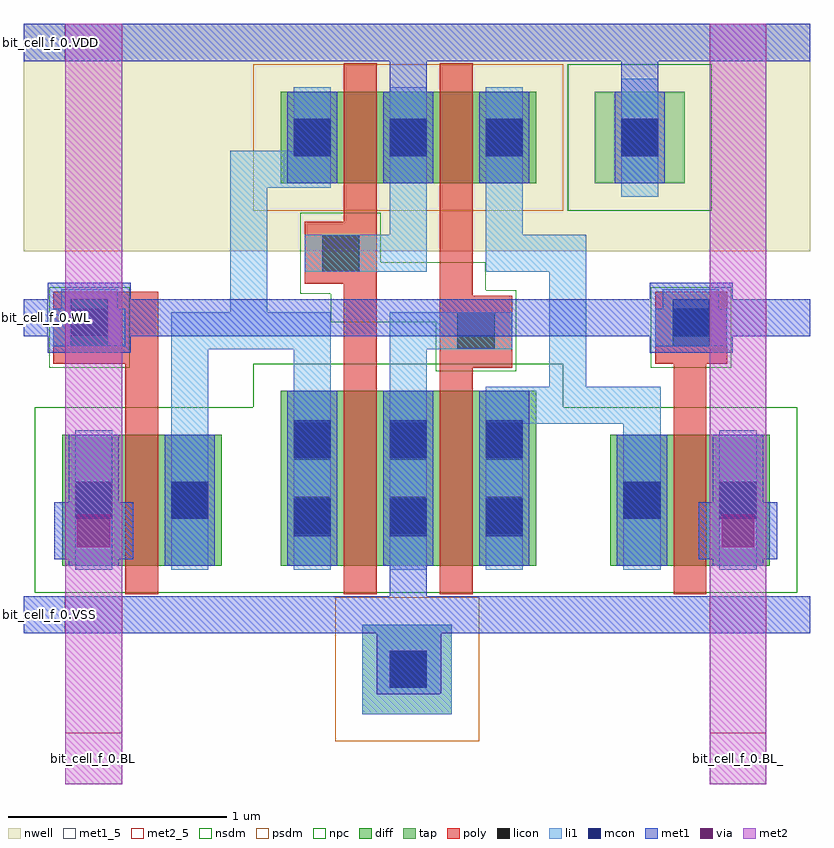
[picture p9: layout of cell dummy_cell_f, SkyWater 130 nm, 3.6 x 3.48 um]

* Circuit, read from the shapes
.subckt dummy_cell_f bit_cell_f_0.BL bit_cell_f_0.BL_ bit_cell_f_0.VDD bit_cell_f_0.VSS bit_cell_f_0.WL
XM1 n1 bit_cell_f_0.WL bit_cell_f_0.BL bit_cell_f_0.VSS sky130_fd_pr__nfet_01v8 w=0.6 l=0.15
XM2 bit_cell_f_0.VSS bit_cell_f_0.VDD n1 bit_cell_f_0.VSS sky130_fd_pr__nfet_01v8 w=0.8 l=0.15
XM3 n2 bit_cell_f_0.VSS bit_cell_f_0.VSS bit_cell_f_0.VSS sky130_fd_pr__nfet_01v8 w=0.8 l=0.15
XM4 bit_cell_f_0.BL_ bit_cell_f_0.WL n2 bit_cell_f_0.VSS sky130_fd_pr__nfet_01v8 w=0.6 l=0.15
XM5 bit_cell_f_0.VDD bit_cell_f_0.VDD n1 bit_cell_f_0.VDD sky130_fd_pr__pfet_01v8 w=0.42 l=0.15
XM6 n2 bit_cell_f_0.VSS bit_cell_f_0.VDD bit_cell_f_0.VDD sky130_fd_pr__pfet_01v8 w=0.42 l=0.15
.ends

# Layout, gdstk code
import gdstk
lib = gdstk.Library(unit=1e-6, precision=5e-09)
def R(c, l, rs):  # rectangles x0, y0, x1, y1
    for r in rs: c.add(gdstk.rectangle(r[:2], r[2:], *l))
def A(c, l, x, y, w, h, nx, ny, dx, dy):  # array of equal rectangles
    R(c, l, [(x+i*dx, y+j*dy, x+i*dx+w, y+j*dy+h) for i in range(nx) for j in range(ny)])
nwell = (64, 20)
diff = (65, 20)
tap = (65, 44)
poly = (66, 20)
licon = (66, 44)
li1 = (67, 20)
mcon = (67, 44)
met1_5 = (68, 5)
met1 = (68, 20)
via = (68, 44)
met2_5 = (69, 5)
met2 = (69, 20)
nsdm = (93, 44)
psdm = (94, 20)
npc = (95, 20)

dummy_cell_f = lib.new_cell('dummy_cell_f')
R(dummy_cell_f, nwell, [(0,2.44,3.6,3.48)])
R(dummy_cell_f, diff, [(0.175,1,0.905,1.6), (1.175,1,2.345,1.8), (2.685,1,3.415,1.6), (1.175,2.75,2.345,3.17)])
R(dummy_cell_f, tap, [(1.55,0.32,1.96,0.73), (2.615,2.75,3.025,3.17)])
R(dummy_cell_f, poly, [(0.465,0.87,0.615,1.925), (1.465,0.87,1.615,2.29), (1.905,0.87,2.055,1.905), (2.975,0.87,3.125,1.925), (1.905,1.905,2.235,2.235), (0.135,1.925,0.615,2.255), (2.89,1.925,3.22,2.255), (1.905,2.235,2.055,3.3), (1.285,2.29,1.615,2.575), (1.465,2.575,1.615,3.3)])
A(dummy_cell_f, licon, 1.235, 1.145, 0.17, 0.17, 3, 2, 0.44, 0.34)
A(dummy_cell_f, licon, 1.235, 2.875, 0.17, 0.17, 3, 1, 0.44, 0)
R(dummy_cell_f, licon, [(1.675,0.44,1.845,0.61), (0.235,1.215,0.405,1.385), (0.675,1.215,0.845,1.385), (2.745,1.215,2.915,1.385), (3.185,1.215,3.355,1.385), (1.985,1.99,2.155,2.16), (0.215,2.005,0.385,2.175), (2.97,2.005,3.14,2.175), (1.365,2.345,1.535,2.515), (2.735,2.875,2.905,3.045)])
R(dummy_cell_f, li1, [(1.55,0.32,1.96,0.73), (0.235,0.98,0.405,1.62), (0.675,0.98,0.845,1.99), (1.235,0.98,1.405,1.99), (1.675,0.98,1.845,1.99), (2.115,0.98,2.285,1.65), (2.745,0.98,2.915,1.65), (3.185,0.98,3.355,1.62), (2.115,1.65,2.915,1.82), (2.405,1.82,2.575,2.345), (0.675,1.99,1.405,2.16), (1.675,1.99,2.235,2.16), (0.135,2.005,0.465,2.175), (2.89,2.005,3.22,2.175), (0.945,2.16,1.115,2.73), (0.17,2.175,0.43,2.265), (2.925,2.175,3.185,2.265), (1.285,2.345,1.845,2.515), (2.115,2.345,2.575,2.515), (1.675,2.515,1.845,3.19), (2.115,2.515,2.285,3.19), (2.735,2.69,2.905,3.23), (0.945,2.73,1.405,2.9), (1.235,2.9,1.405,3.19)])
A(dummy_cell_f, mcon, 1.235, 1.135, 0.17, 0.17, 3, 2, 0.44, 0.36)
A(dummy_cell_f, mcon, 1.235, 2.875, 0.17, 0.17, 3, 1, 0.44, 0)
R(dummy_cell_f, mcon, [(1.675,0.44,1.845,0.61), (0.235,1.215,0.405,1.385), (0.675,1.215,0.845,1.385), (2.745,1.215,2.915,1.385), (3.185,1.215,3.355,1.385), (0.215,2.05,0.385,2.22), (2.97,2.05,3.14,2.22), (2.735,2.875,2.905,3.045)])
R(dummy_cell_f, met1_5, [(0,0.69,0.19,0.86), (0,2.05,0.11,2.22), (0,3.31,0.19,3.48)])
A(dummy_cell_f, met1, 1.205, 1, 0.23, 0.8, 3, 1, 0.44, 0)
A(dummy_cell_f, met1, 1.205, 2.75, 0.23, 0.42, 3, 1, 0.44, 0)
R(dummy_cell_f, met1, [(1.615,0.41,1.905,0.415), (1.615,0.415,1.91,0.69), (0,0.69,3.6,0.86), (1.675,0.86,1.845,1), (0.205,1,0.435,1.03), (0.645,1,0.875,1.6), (2.715,1,2.945,1.6), (3.155,1,3.385,1.03), (0.14,1.03,0.5,1.29), (3.09,1.03,3.45,1.29), (0.205,1.29,0.435,1.6), (3.155,1.29,3.385,1.6), (0.11,1.975,0.49,2.05), (2.865,1.975,3.245,2.05), (0,2.05,3.6,2.22), (0.11,2.22,0.49,2.295), (2.865,2.22,3.245,2.295), (2.705,2.75,2.935,3.17), (1.675,3.17,1.845,3.31), (2.735,3.17,2.905,3.31), (0,3.31,3.6,3.48)])
R(dummy_cell_f, via, [(0.245,1.085,0.395,1.235), (3.195,1.085,3.345,1.235)])
R(dummy_cell_f, met2_5, [(0.19,0,0.45,0.235), (3.14,0,3.4,0.235)])
R(dummy_cell_f, met2, [(0.19,0,0.45,3.48), (3.14,0,3.4,3.48)])
R(dummy_cell_f, nsdm, [(0.05,0.875,3.54,1.725), (1.05,1.725,2.47,1.925), (2.49,2.625,3.15,3.295)])
R(dummy_cell_f, psdm, [(1.425,0.195,2.085,0.855), (1.05,2.625,2.47,3.295)])
R(dummy_cell_f, npc, [(1.885,1.89,2.255,2.115), (0.115,1.905,0.485,2.275), (2.87,1.905,3.24,2.275), (1.405,2.115,2.255,2.245), (1.265,2.245,2.255,2.26), (1.265,2.26,2.115,2.39), (1.265,2.39,1.635,2.615)])
dummy_cell_f.add(gdstk.Label('bit_cell_f_0.BL_', (3.27,0.115), layer=69, texttype=5))
dummy_cell_f.add(gdstk.Label('bit_cell_f_0.VSS', (0.095,0.775), layer=68, texttype=5))
dummy_cell_f.add(gdstk.Label('bit_cell_f_0.WL', (0.055,2.135), layer=68, texttype=5))
dummy_cell_f.add(gdstk.Label('bit_cell_f_0.VDD', (0.095,3.395), layer=68, texttype=5))
dummy_cell_f.add(gdstk.Label('bit_cell_f_0.BL', (0.32,0.115), layer=69, texttype=5))

lib.write_gds('dummy_cell_f.gds')
